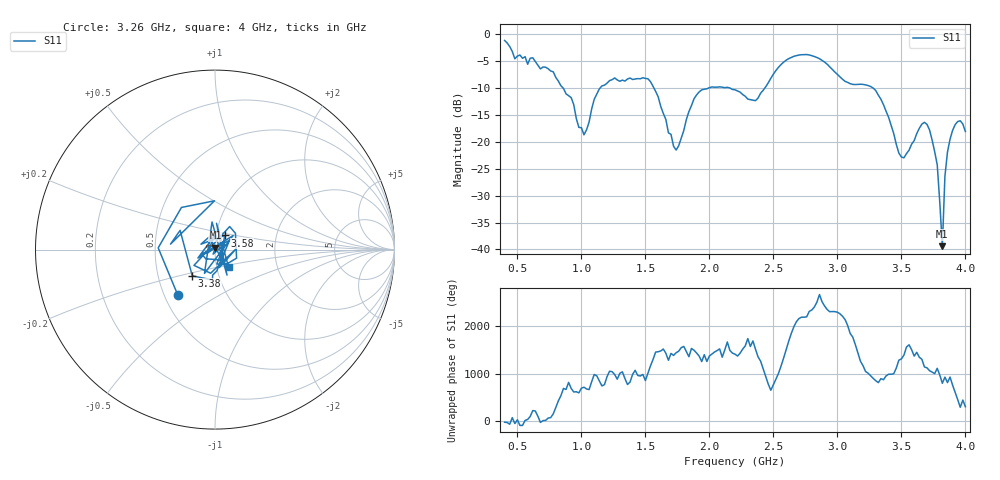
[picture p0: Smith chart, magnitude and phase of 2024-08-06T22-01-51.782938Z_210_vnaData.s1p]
!Created with skrf (http://scikit-rf.org).
# Hz S RI R 50.0
!freq ReS11 ImS11
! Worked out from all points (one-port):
!   181 points, 400 MHz to 4 GHz, reference 50 ohm
!   lowest |S11| = -39.4 dB at 3.82 GHz (marker M1), VSWR 1.02, Z = 50.2 + j1.05 ohm
!   |S11| at or under -10 dB: 857.9 MHz to 1.145 GHz (287 MHz wide, 28.7 % of centre); 1.567 GHz to 1.991 GHz (424.1 MHz wide, 23.8 % of centre); 3.28 GHz to end of sweep (the widest 3 of 4)
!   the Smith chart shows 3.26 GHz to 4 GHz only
!   S11 on the Smith chart (normalised r, x): 3.26 GHz: 0.59, -0.33; 3.38 GHz: 0.75, -0.23; 3.58 GHz: 1.10, +0.17; 4 GHz: 1.14, -0.23
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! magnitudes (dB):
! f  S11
! 400 MHz  -1.1
! 480 MHz  -4.5
! 860 MHz  -10.1
! 1.02 GHz  -18.7
! 1.14 GHz  -10.1
! 1.3 GHz  -8.7
! 1.52 GHz  -8.3
! 1.72 GHz  -20.8
! 1.76 GHz  -20.7
! 1.92 GHz  -10.7
! 2.2 GHz  -10.3
! 2.36 GHz  -12.3
! 2.66 GHz  -4.1
! 2.86 GHz  -4.5
! 3.1 GHz  -9.2
! 3.26 GHz  -9.7
! 3.38 GHz  -14.3
! 3.48 GHz  -22.1
! 3.56 GHz  -21.5
! 3.58 GHz  -20.4
! 3.66 GHz  -16.7
! 3.72 GHz  -17.8
! 3.78 GHz  -24.2
! 3.82 GHz  -39.4
! 3.84 GHz  -26.4
! 3.88 GHz  -19.5
! 3.94 GHz  -16.2
! 4 GHz  -18.1
